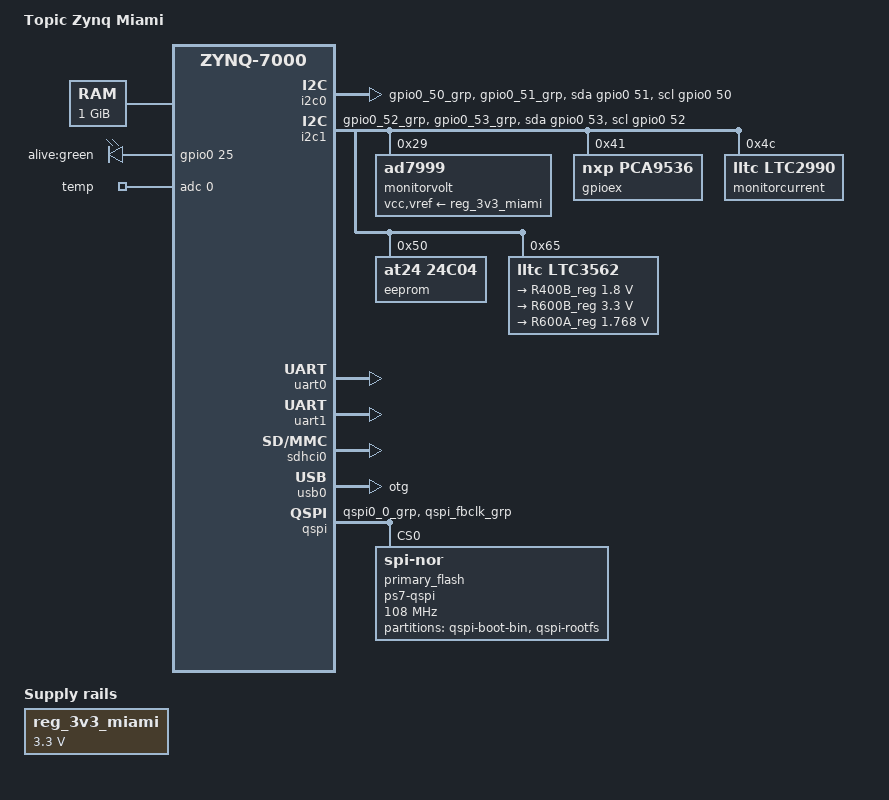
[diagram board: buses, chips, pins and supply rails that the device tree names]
/include/ "zynq-7000.dtsi"

/* Remove broken I2C driver and replace with bitbang GPIO */
/delete-node/ &i2c0;
/delete-node/ &i2c1;

/ {
	model = "Topic Zynq Miami";

	interrupt-parent = <&intc>;

	/* Arrange that UART0 is ttyPS0 */
	aliases: aliases {
		serial0 = &uart0;
		serial1 = &uart1;
		ethernet0 = &gem0;
		mmc0 = &sdhci0;
		mmc1 = &sdhci1;
	};

	memory {
		device_type = "memory";
		reg = <0x000000000 0x40000000>;
	};

	chosen {
		/* Boot using squashfs system, nice for QSPI NOR flash */
		bootargs = "console=ttyPS0,115200 root=/dev/mtdblock5 ro rootfstype=squashfs rootwait quiet";
		/* bootargs = "console=ttyPS0,115200 ubi.mtd=qspi-rootfs root=ubi0:qspi-rootfs rw rootfstype=ubifs rootwait"; */
		linux,stdout-path = "/amba@0/uart@e0000000";
	};

	/* Represents the 3v3 supply on the Miami SOM. */
	reg_3v3_miami: regulator_3v3_miami {
		compatible = "regulator-fixed";
		regulator-name = "3v3-miami";
		regulator-min-microvolt = <3300000>;
		regulator-max-microvolt = <3300000>;
	};

	leds: leds {
		compatible = "gpio-leds";
		pinctrl-names = "default";
		pinctrl-0 = <&pinctrl_leds_default>;
		led_alive: alive {
			label = "alive:green";
			gpios = <&gpio0 25 0>;
			linux,default-trigger = "heartbeat";
		};
	};

	i2c0: gpios-i2c@50 {
		bus-id = <0>;
		compatible = "i2c-gpio";
		gpios = <&gpio0 51 0 /* sda */
			 &gpio0 50 0 /* scl */
			>;
		i2c-gpio,delay-us = <3>;	/* 333 kHz (?) */
		#address-cells = <1>;
		#size-cells = <0>;
		pinctrl-names = "default";
		pinctrl-0 = <&pinctrl_i2c0_default>;
	};

	i2c1: gpios-i2c@52 {
		bus-id = <1>;
		compatible = "i2c-gpio";
		gpios = <&gpio0 53 0 /* sda */
			 &gpio0 52 0 /* scl */
			>;
		i2c-gpio,delay-us = <3>;	/* 333 kHz (?) */
		#address-cells = <1>;
		#size-cells = <0>;
		pinctrl-names = "default";
		pinctrl-0 = <&pinctrl_i2c1_default>;
	};

	/* Make temperature readouts show up in hwmon applications */
	iio-hwmon-xadc {
		compatible = "iio-hwmon";
		io-channels = <&adc 0>;
		io-channel-names = "temp";
	};
};

/* Disable the ARM timer. This clocksource does not compensate for frequency
   scaling. The TTC timer does this, but has a lower rating so it would not
   get selected as system clocksource.
   Alternatives to disabling this clock are setting the source in sysfs or
   adding clocksource=ttc_clocksource to the kernel bootargs */
&global_timer {
	status = "disabled";
};

&uart0 {
	status = "okay";
};

&uart1 {
	status = "okay";
};

&sdhci0 {
	disable-wp; /* We don't have a write-protect detection */
	status = "okay";
};

&adc {
	/* Missing propery for IIO-HWMON interface */
	#io-channel-cells = <1>;
};

&i2c1 {
	/* AD converter for voltage monitoring */
	monitorvolt: ad799x@29 {
		compatible = "ad7999";
		reg = <0x29>;
		vcc-supply = <&reg_3v3_miami>;
		vref-supply = <&reg_3v3_miami>;
	};
	/* GPIO expander */
	gpioex: pca953x@41 {
		compatible = "nxp,pca9536";
		reg = <0x41>;
		gpio-line-names = "USB_RESET", "VTT_SHDWN_N", "V_PRESENT", "DEBUG_PRESENT";
		gpio-controller;
		#gpio-cells = <2>;
	};
	/* Current monitoring chip */
	monitorcurrent: ltc2990@4c {
		compatible = "lltc,ltc2990";
		reg = <0x4c>;
		lltc,meas-mode = <6 3>; /* Current sensor mode */
	};
	/* EEPROM */
	eeprom: eeprom@50 {
		compatible = "at24,24c04";
		reg = <0x50>;
		#address-cells = <1>;
		#size-cells = <1>;
		pagesize = <16>;
		/* NVMEM entries */
		gem0_mac: mac@30 {
			reg = <0x30 6>;
		};
		gem1_mac: mac@38 {
			reg = <0x38 6>;
		};
		miamiserial: serial@1f4 {
			reg = <0x1f4 4>;
		};
		dyplolicense: dyplolicense@1f8 {
			reg = <0x1f8 8>;
		};
	};
	/* IO Voltage controller */
	ltc3562: ltc3562@65 {
		compatible = "lltc,ltc3562";
		reg = <0x65>; /* 0b1100101 */
		regulators {
			R400B_reg: R400B {
				/* Supplies VCCO2 to bank 34 */
				regulator-min-microvolt = <1800000>;
				regulator-max-microvolt = <1800000>;
				regulator-boot-on;
				regulator-always-on;
				lltc,operating-mode = <1>;
			};
			R600B_reg: R600B {
				/* Supplies VCCO0 to Bank 13 */
				regulator-min-microvolt = <3300000>;
				regulator-max-microvolt = <3300000>;
				regulator-boot-on;
				regulator-always-on;
			};
			/* R400A Not connected */
			R600A_reg: R600A {
				/* Supplies VCCO1 to bank 35 */
				/* We actually want 1v8, but the wiring of
				 * the regulator is weird so you can only get
				 * 1768mV */
				regulator-min-microvolt = <1768000>;
				regulator-max-microvolt = <1768000>;
				lltc,fb-voltage-divider = <316 100>;
				regulator-boot-on;
				regulator-always-on;
			};
		};
	};
};

&usb0 {
	dr_mode = "otg";
};

&qspi {
	status = "okay";
	pinctrl-names = "default";
	pinctrl-0 = <&pinctrl_qspi0_default>;
	is-dual = <0>;
	num-cs = <1>;
	primary_flash: ps7-qspi@0 {
		compatible = "jedec,spi-nor";
		/* Max frequency for quad read is 108MHz according to data sheet */
		spi-max-frequency = <108000000>;
		spi-tx-bus-width = <1>;
		spi-rx-bus-width = <4>;
		#address-cells = <1>;
		#size-cells = <1>;
		reg = <0x0>;
		partition@qspi-boot-bin {
			label = "qspi-boot-bin";
			reg = <0x00000 0x100000>;
		};
		partition@qspi-rootfs {
			label = "qspi-rootfs";
			reg = <0x100000 0>;
		};
	};
};

&watchdog0 {
	reset-on-timeout;
};

&gem0 {
	/* MAC address stored in NVMEM */
	nvmem-cells = <&gem0_mac>;
	nvmem-cell-names = "mac-address";
};

&gem1 {
	/* MAC address stored in NVMEM */
	nvmem-cells = <&gem1_mac>;
	nvmem-cell-names = "mac-address";
};

&pinctrl0 {
	pinctrl_qspi0_default: qspi0_default {
		mux {
			groups = "qspi0_0_grp";
			function = "qspi0";
		};
		mux-fbclk {
			groups = "qspi_fbclk_grp";
			function = "qspi_fbclk";
		};
		conf {
			groups = "qspi0_0_grp", "qspi_fbclk_grp";
			slew-rate = <0>;
			power-source = <1>;
			bias-disable;
		};
	};

	pinctrl_leds_default: leds-default {
		mux {
			groups = "gpio0_25_grp";
			function = "gpio0";
		};

		conf {
			groups = "gpio0_25_grp";
			slew-rate = <0>;
			power-source = <1>;
		};
	};

	pinctrl_i2c0_default: i2c0-default {
		mux {
			groups = "gpio0_50_grp", "gpio0_51_grp";
			function = "gpio0";
		};

		conf {
			groups = "gpio0_50_grp", "gpio0_51_grp";
			bias-pull-up;
			slew-rate = <0>;
			power-source = <1>;
		};
	};

	pinctrl_i2c1_default: i2c1-default {
		mux {
			groups = "gpio0_52_grp", "gpio0_53_grp";
			function = "gpio0";
		};

		conf {
			groups = "gpio0_52_grp", "gpio0_53_grp";
			bias-pull-up;
			slew-rate = <0>;
			power-source = <1>;
		};
	};
};
